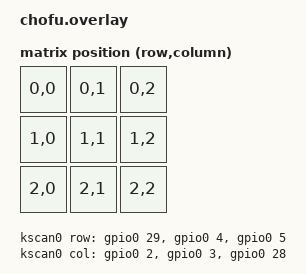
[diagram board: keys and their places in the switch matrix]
#include <dt-bindings/zmk/matrix_transform.h>

/ {
    chosen {
        zmk,kscan = &kscan0;
        zmk,physical-layout = &physical_layout0;
    };

    kscan0: kscan0 {
        compatible = "zmk,kscan-gpio-matrix";
        diode-direction = "col2row";
        wakeup-source;

        col-gpios
            = <&gpio0 2 GPIO_ACTIVE_HIGH>
            , <&gpio0 3 GPIO_ACTIVE_HIGH>
            , <&gpio0 28 GPIO_ACTIVE_HIGH>
            ;

        row-gpios
            = <&gpio0 29 (GPIO_ACTIVE_HIGH | GPIO_PULL_DOWN)>
            , <&gpio0 4 (GPIO_ACTIVE_HIGH | GPIO_PULL_DOWN)>
            , <&gpio0 5 (GPIO_ACTIVE_HIGH | GPIO_PULL_DOWN)>
            ;
   };

   default_transform: keymap_transform0 {
        compatible = "zmk,matrix-transform";
        columns = <3>;
        rows = <3>;
        map = <
        //   Key 1 | Key 2 | Key 3
            RC(0,0) RC(0,1) RC(0,2)
        //   Key 4 | Key 5 | Key 6
            RC(1,0) RC(1,1) RC(1,2)
        //   Key 7 | Key 8 | Key 9
            RC(2,0) RC(2,1) RC(2,2)
        >;
    };

    physical_layout0: physical_layout_0 { 
        compatible = "zmk,physical-layout";
        display-name = "Default Layout";
        // kscan = <&kscan0>; 
        transform = <&default_transform>; 
    };
};
